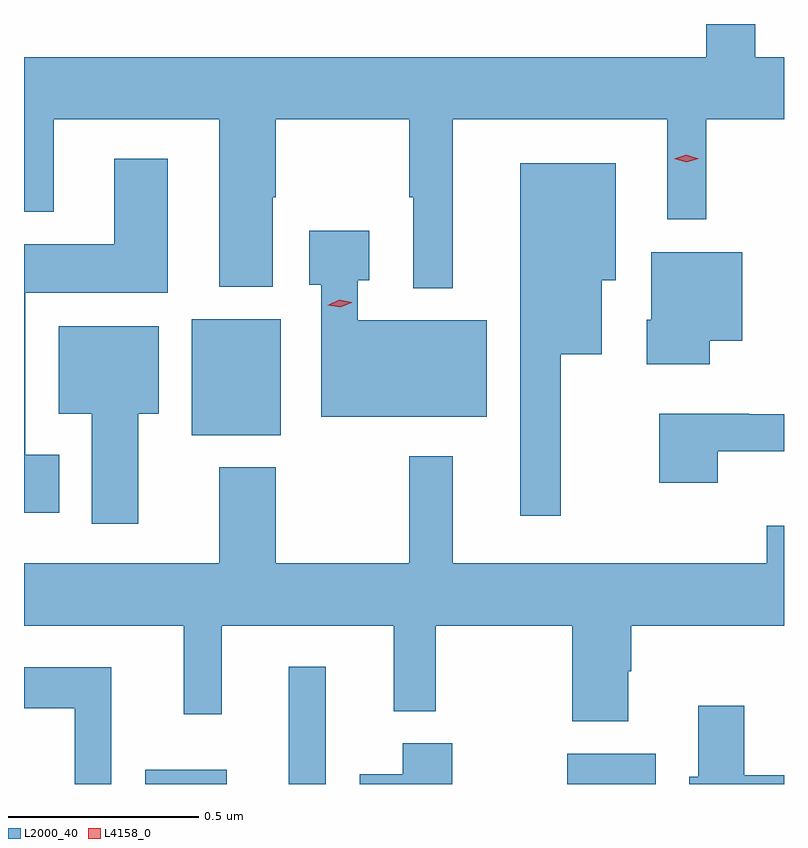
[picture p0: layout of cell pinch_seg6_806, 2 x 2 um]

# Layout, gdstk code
import gdstk
lib = gdstk.Library(unit=1e-6, precision=1e-09)
def R(c, l, rs):  # rectangles x0, y0, x1, y1
    for r in rs: c.add(gdstk.rectangle(r[:2], r[2:], *l))
def P(c, l, *ps):  # polygons
    for p in ps: c.add(gdstk.Polygon(p, *l))
L2000_40 = (2000, 40)
L4158_0 = (4158, 0)

pinch_seg6_806 = lib.new_cell('pinch_seg6_806')
R(pinch_seg6_806, L2000_40, [(330.08,960.239,330.295,960.277), (330.458,960.239,330.555,960.547), (331.19,960.239,331.423,960.319), (330.203,961.157,330.436,961.462)])
P(pinch_seg6_806, L2000_40, [(330.889,961.988),(331.454,961.988),(331.454,961.725),(331.556,961.725),(331.556,961.988),(331.761,961.988),(331.761,962.152),(331.685,962.152),(331.685,962.239),(331.557,962.239),(331.557,962.152),(329.761,962.152),(329.761,961.745),(329.839,961.745),(329.839,961.988),(330.275,961.988),(330.275,961.547),(330.415,961.547),(330.415,961.783),(330.423,961.783),(330.423,961.988),(330.775,961.988),(330.775,961.783),(330.785,961.783),(330.785,961.544),(330.889,961.544)],
  [(329.854,961.105),(329.764,961.105),(329.764,961.532),(330.139,961.532),(330.139,961.885),(329.999,961.885),(329.999,961.66),(329.761,961.66),(329.761,960.953),(329.854,960.953)],
  [(331.174,961.37),(331.282,961.37),(331.282,961.565),(331.318,961.565),(331.318,961.873),(331.067,961.873),(331.067,960.945),(331.174,960.945)],
  [(330.979,961.459),(330.639,961.459),(330.639,961.565),(330.67,961.565),(330.67,961.695),(330.512,961.695),(330.512,961.553),(330.543,961.553),(330.543,961.205),(330.979,961.205)],
  [(331.566,961.406),(331.651,961.406),(331.651,961.639),(331.412,961.639),(331.412,961.461),(331.4,961.461),(331.4,961.343),(331.566,961.343)],
  [(330.061,961.214),(330.115,961.214),(330.115,961.444),(329.852,961.444),(329.852,961.214),(329.939,961.214),(329.939,960.924),(330.061,960.924)],
  [(331.586,961.115),(331.761,961.115),(331.761,961.212),(331.669,961.212),(331.669,961.213),(331.433,961.213),(331.433,961.032),(331.586,961.032)],
  [(331.351,960.536),(331.359,960.536),(331.359,960.656),(331.761,960.656),(331.761,960.919),(331.715,960.919),(331.715,960.82),(330.889,960.82),(330.889,961.102),(330.775,961.102),(330.775,960.82),(330.423,960.82),(330.423,961.072),(330.275,961.072),(330.275,960.82),(329.761,960.82),(329.761,960.656),(330.182,960.656),(330.182,960.423),(330.281,960.423),(330.281,960.656),(330.734,960.656),(330.734,960.431),(330.844,960.431),(330.844,960.656),(331.204,960.656),(331.204,960.404),(331.351,960.404)],
  [(329.991,960.546),(329.761,960.546),(329.761,960.438),(329.894,960.438),(329.894,960.239),(329.991,960.239)],
  [(331.761,960.262),(331.657,960.262),(331.657,960.445),(331.535,960.445),(331.535,960.258),(331.511,960.258),(331.511,960.239),(331.761,960.239)],
  [(330.888,960.346),(330.758,960.346),(330.758,960.265),(330.644,960.265),(330.644,960.239),(330.888,960.239)])
P(pinch_seg6_806, L4158_0, [(330.593,961.493),(330.56,961.499),(330.56,961.499),(330.56,961.499),(330.59,961.513),(330.623,961.507),(330.623,961.507),(330.623,961.506)],
  [(331.504,961.875),(331.472,961.885),(331.471,961.885),(331.472,961.885),(331.504,961.895),(331.537,961.885),(331.537,961.884),(331.537,961.884)])

lib.write_gds('pinch_seg6_806.gds')
